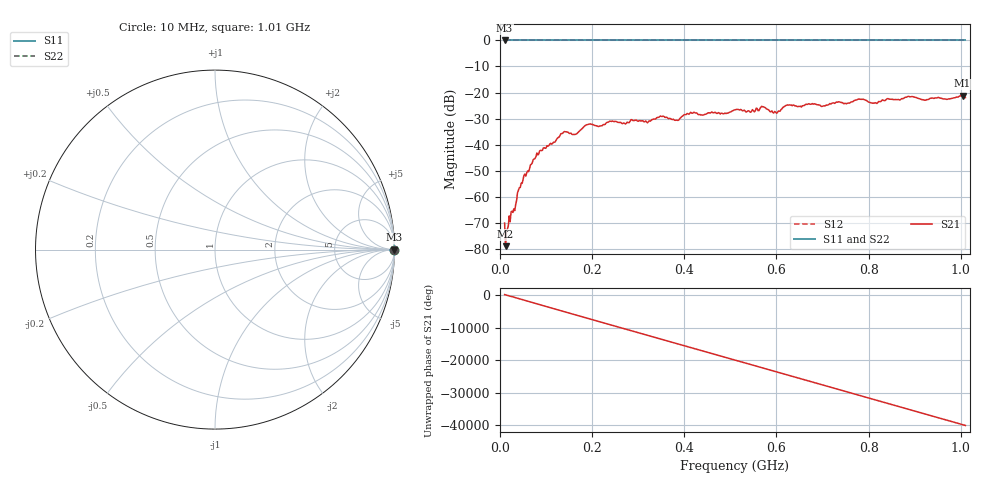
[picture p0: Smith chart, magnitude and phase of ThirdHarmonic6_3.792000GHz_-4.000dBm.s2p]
! 8/17/2025 1:05:53 PM
! C:\ANRITSUVNA\TEMP\TEMP.S2P
! CHANNEL.1
! TR.MEASUREMENT
! RAW.DATA
! RF.CORRECTION.OFF
! AVERAGING.OFF
! IF.BANDWIDTH: 5KHZ
! SWEEPTYPE:  FREQ.SWEEP(Linear)
! Reference Plane Port Info
! PORT:  PORT1  PORT2
! DISTANCE:  0  m  0  m
! TIME:  0  s  0  s
! PHASE.OFFSET:  0  deg.  0  deg.
! LOSS:  0  dB  0  dB
! REF.LOSS:  0  dB  0  dB
! REF.FREQ:  0  Hz  0  Hz
! Power Info
! POWER:  -20  dBm  -20  dBm
! EFF.POWER:  -20  dBm  -20  dBm
! SOURCE.ATTEN:  0  dB  0  dB
! TEST.ATTEN:  0  dB  0  dB
# GHZ S RI R 50.0
! FREQ.GHZ  S11RE  S11IM  S21RE  S21IM  S12RE  S12IM  S22RE  S22IM
!; PortSelection: Port_12
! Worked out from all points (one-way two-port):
!   501 points, 10 MHz to 1.01 GHz, reference 50 ohm
!   highest |S21| = -21.25 dB at 1.004 GHz (marker M1); lowest = -79.0 dB at 12 MHz (marker M2)
!   lowest |S11| = 0.0 dB at 10 MHz (marker M3)
!   |S11| at or under -10 dB: nowhere
!   |S22| runs from 0.0 to 0.0 dB; largest |S21 - S12| = 1.1
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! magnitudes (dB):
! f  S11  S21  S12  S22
! 10 MHz  0.0  -70.2  0.0  0.0
! 12 MHz  0.0  -79.0  0.0  0.0
! 16 MHz  0.0  -72.5  0.0  0.0
! 22 MHz  0.0  -69.7  0.0  0.0
! 32 MHz  0.0  -65.4  0.0  0.0
! 42 MHz  0.0  -56.6  0.0  0.0
! 76 MHz  0.0  -45.4  0.0  0.0
! 136 MHz  0.0  -35.7  0.0  0.0
! 162 MHz  0.0  -36.1  0.0  0.0
! 178 MHz  0.0  -33.9  0.0  0.0
! 192 MHz  0.0  -32.2  0.0  0.0
! 344 MHz  0.0  -29.5  0.0  0.0
! 384 MHz  0.0  -30.6  0.0  0.0
! 416 MHz  0.0  -27.9  0.0  0.0
! 510 MHz  0.0  -26.7  0.0  0.0
! 570 MHz  0.0  -25.5  0.0  0.0
! 598 MHz  0.0  -27.5  0.0  0.0
! 624 MHz  0.0  -24.8  0.0  0.0
! 678 MHz  0.0  -24.2  0.0  0.0
! 844 MHz  0.0  -22.5  0.0  0.0
! 1.004 GHz  0.0  -21.3  0.0  0.0
! 1.01 GHz  0.0  -21.9  0.0  0.0
